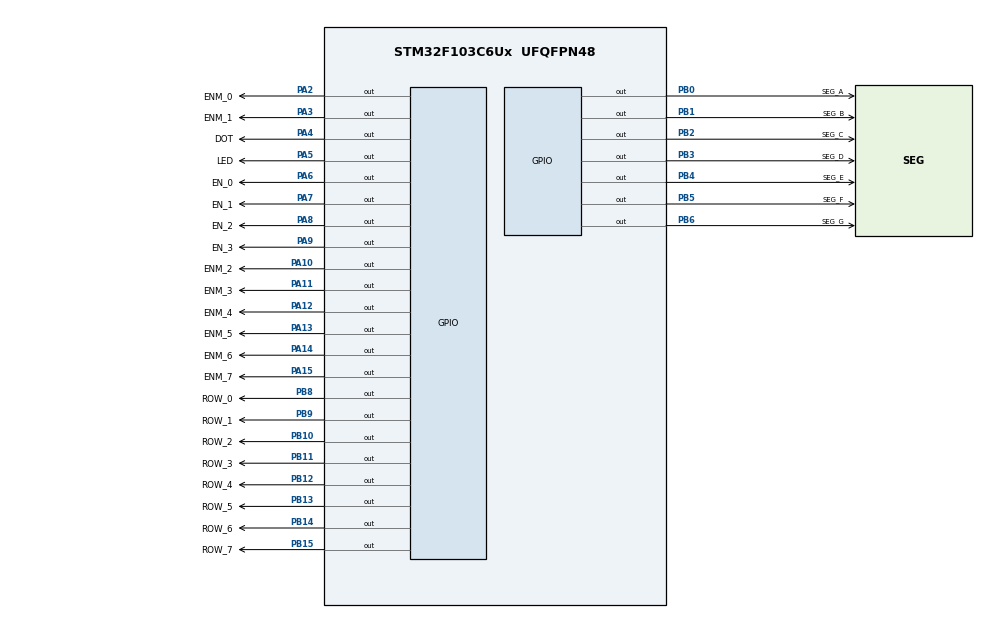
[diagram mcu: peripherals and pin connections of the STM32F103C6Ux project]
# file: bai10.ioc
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Mcu.Family=STM32F1
Mcu.Name=STM32F103C6Ux
Mcu.Package=UFQFPN48
NVIC.PriorityGroup=NVIC_PRIORITYGROUP_4
NVIC.TIM2_IRQn=true\:0\:0\:false\:false\:true\:true\:true\:true
PA10.GPIO_Label=ENM_2
PA10.Signal=GPIO_Output
PA11.GPIO_Label=ENM_3
PA11.Signal=GPIO_Output
PA12.GPIO_Label=ENM_4
PA12.Signal=GPIO_Output
PA13.GPIO_Label=ENM_5
PA13.Signal=GPIO_Output
PA14.GPIO_Label=ENM_6
PA14.Signal=GPIO_Output
PA15.GPIO_Label=ENM_7
PA15.Signal=GPIO_Output
PA2.GPIO_Label=ENM_0
PA2.Signal=GPIO_Output
PA3.GPIO_Label=ENM_1
PA3.Signal=GPIO_Output
PA4.GPIO_Label=DOT
PA4.Signal=GPIO_Output
PA5.GPIO_Label=LED
PA5.Signal=GPIO_Output
PA6.GPIO_Label=EN_0
PA6.Signal=GPIO_Output
PA7.GPIO_Label=EN_1
PA7.Signal=GPIO_Output
PA8.GPIO_Label=EN_2
PA8.Signal=GPIO_Output
PA9.GPIO_Label=EN_3
PA9.Signal=GPIO_Output
PB0.GPIO_Label=SEG_A
PB0.Signal=GPIO_Output
PB1.GPIO_Label=SEG_B
PB1.Signal=GPIO_Output
PB10.GPIO_Label=ROW_2
PB10.Signal=GPIO_Output
PB11.GPIO_Label=ROW_3
PB11.Signal=GPIO_Output
PB12.GPIO_Label=ROW_4
PB12.Signal=GPIO_Output
PB13.GPIO_Label=ROW_5
PB13.Signal=GPIO_Output
PB14.GPIO_Label=ROW_6
PB14.Signal=GPIO_Output
PB15.GPIO_Label=ROW_7
PB15.Signal=GPIO_Output
PB2.GPIO_Label=SEG_C
PB2.Signal=GPIO_Output
PB3.GPIO_Label=SEG_D
PB3.Signal=GPIO_Output
PB4.GPIO_Label=SEG_E
PB4.Signal=GPIO_Output
PB5.GPIO_Label=SEG_F
PB5.Signal=GPIO_Output
PB6.GPIO_Label=SEG_G
PB6.Signal=GPIO_Output
PB8.GPIO_Label=ROW_0
PB8.Signal=GPIO_Output
PB9.GPIO_Label=ROW_1
PB9.Signal=GPIO_Output
ProjectManager.HeapSize=0x200
ProjectManager.StackSize=0x400
ProjectManager.TargetToolchain=STM32CubeIDE
RCC.APB1Freq_Value=8000000
RCC.APB2Freq_Value=8000000
TIM2.Period=10
TIM2.Prescaler=7999
VP_TIM2_VS_ClockSourceINT.Mode=Internal
board=custom

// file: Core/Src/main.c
/* USER CODE BEGIN Header */
/**
 ******************************************************************************
 * @file           : main.c
 * @brief          : Main program body
 ******************************************************************************
 * @attention
 *
 * Copyright (c) 2022 STMicroelectronics.
 * All rights reserved.
 *
 * This software is licensed under terms that can be found in the LICENSE file
 * in the root directory of this software component.
 * If no LICENSE file comes with this software, it is provided AS-IS.
 *
 ******************************************************************************
 */
/* USER CODE END Header */
#include "main.h"

TIM_HandleTypeDef htim2;

void SystemClock_Config(void);
static void MX_GPIO_Init(void);
static void MX_TIM2_Init(void);

/* USER CODE BEGIN 0 */
int timer0_counter = 0;
int timer0_flag = 0;
int timer1_counter = 0;
int timer1_flag = 0;
int timer2_counter = 0;
int timer2_flag = 0;
int TIMER_CYCLE = 10;
void setTimer0(int duration) {
	timer0_counter = duration / TIMER_CYCLE;
	timer0_flag = 0;
}
void setTimer1(int duration) {
	timer1_counter = duration / TIMER_CYCLE;
	timer1_flag = 0;
}
void setTimer2(int duration) {
	timer2_counter = duration / TIMER_CYCLE;
	timer2_flag = 0;
}
void timer_run() {
	if (timer0_counter > 0) {
		timer0_counter--;
		if (timer0_counter == 0)
			timer0_flag = 1;
	}
	if (timer1_counter > 0) {
		timer1_counter--;
		if (timer1_counter == 0)
			timer1_flag = 1;
	}
	if (timer2_counter > 0) {
		timer2_counter--;
		if (timer2_counter == 0)
			timer2_flag = 1;
	}
}

void display7SEG(int counter) {
	//led display number 0 by enable 6 ports as follow (reset state)
	if (counter == 0) {
		HAL_GPIO_WritePin(SEG_A_GPIO_Port, SEG_A_Pin, RESET);
		HAL_GPIO_WritePin(SEG_B_GPIO_Port, SEG_B_Pin, RESET);
		HAL_GPIO_WritePin(SEG_C_GPIO_Port, SEG_C_Pin, RESET);
		HAL_GPIO_WritePin(SEG_D_GPIO_Port, SEG_D_Pin, RESET);
		HAL_GPIO_WritePin(SEG_E_GPIO_Port, SEG_E_Pin, RESET);
		HAL_GPIO_WritePin(SEG_F_GPIO_Port, SEG_F_Pin, RESET);
		HAL_GPIO_WritePin(SEG_G_GPIO_Port, SEG_G_Pin, SET);
	}
	//led display number 1 by enable 2 ports as follow (reset state)
	if (counter == 1) {
		HAL_GPIO_WritePin(SEG_A_GPIO_Port, SEG_A_Pin, SET);
		HAL_GPIO_WritePin(SEG_B_GPIO_Port, SEG_B_Pin, RESET);
		HAL_GPIO_WritePin(SEG_C_GPIO_Port, SEG_C_Pin, RESET);
		HAL_GPIO_WritePin(SEG_D_GPIO_Port, SEG_D_Pin, SET);
		HAL_GPIO_WritePin(SEG_E_GPIO_Port, SEG_E_Pin, SET);
		HAL_GPIO_WritePin(SEG_F_GPIO_Port, SEG_F_Pin, SET);
		HAL_GPIO_WritePin(SEG_G_GPIO_Port, SEG_G_Pin, SET);
	}
	//led display number 2 by enable 5 ports as follow (reset state)
	if (counter == 2) {
		HAL_GPIO_WritePin(SEG_A_GPIO_Port, SEG_A_Pin, RESET);
		HAL_GPIO_WritePin(SEG_B_GPIO_Port, SEG_B_Pin, RESET);
		HAL_GPIO_WritePin(SEG_C_GPIO_Port, SEG_C_Pin, SET);
		HAL_GPIO_WritePin(SEG_D_GPIO_Port, SEG_D_Pin, RESET);
		HAL_GPIO_WritePin(SEG_E_GPIO_Port, SEG_E_Pin, RESET);
		HAL_GPIO_WritePin(SEG_F_GPIO_Port, SEG_F_Pin, SET);
		HAL_GPIO_WritePin(SEG_G_GPIO_Port, SEG_G_Pin, RESET);
	}
	//led display number 3 by enable 5 ports as follow (reset state)
	if (counter == 3) {
		HAL_GPIO_WritePin(SEG_A_GPIO_Port, SEG_A_Pin, RESET);
		HAL_GPIO_WritePin(SEG_B_GPIO_Port, SEG_B_Pin, RESET);
		HAL_GPIO_WritePin(SEG_C_GPIO_Port, SEG_C_Pin, RESET);
		HAL_GPIO_WritePin(SEG_D_GPIO_Port, SEG_D_Pin, RESET);
		HAL_GPIO_WritePin(SEG_E_GPIO_Port, SEG_E_Pin, SET);
		HAL_GPIO_WritePin(SEG_F_GPIO_Port, SEG_F_Pin, SET);
		HAL_GPIO_WritePin(SEG_G_GPIO_Port, SEG_G_Pin, RESET);
	}
	//led display number 4 by enable 4 ports as follow (reset state)
	if (counter == 4) {
		HAL_GPIO_WritePin(SEG_A_GPIO_Port, SEG_A_Pin, SET);
		HAL_GPIO_WritePin(SEG_B_GPIO_Port, SEG_B_Pin, RESET);
		HAL_GPIO_WritePin(SEG_C_GPIO_Port, SEG_C_Pin, RESET);
		HAL_GPIO_WritePin(SEG_D_GPIO_Port, SEG_D_Pin, SET);
		HAL_GPIO_WritePin(SEG_E_GPIO_Port, SEG_E_Pin, SET);
		HAL_GPIO_WritePin(SEG_F_GPIO_Port, SEG_F_Pin, RESET);
		HAL_GPIO_WritePin(SEG_G_GPIO_Port, SEG_G_Pin, RESET);
	}
	//led display number 5 by enable 5 ports as follow (reset state)
	if (counter == 5) {
		HAL_GPIO_WritePin(SEG_A_GPIO_Port, SEG_A_Pin, RESET);
		HAL_GPIO_WritePin(SEG_B_GPIO_Port, SEG_B_Pin, SET);
		HAL_GPIO_WritePin(SEG_C_GPIO_Port, SEG_C_Pin, RESET);
		HAL_GPIO_WritePin(SEG_D_GPIO_Port, SEG_D_Pin, RESET);
		HAL_GPIO_WritePin(SEG_E_GPIO_Port, SEG_E_Pin, SET);
		HAL_GPIO_WritePin(SEG_F_GPIO_Port, SEG_F_Pin, RESET);
		HAL_GPIO_WritePin(SEG_G_GPIO_Port, SEG_G_Pin, RESET);
	}
	//led display number 6 by enable 6 ports as follow (reset state)
	if (counter == 6) {
		HAL_GPIO_WritePin(SEG_A_GPIO_Port, SEG_A_Pin, RESET);
		HAL_GPIO_WritePin(SEG_B_GPIO_Port, SEG_B_Pin, SET);
		HAL_GPIO_WritePin(SEG_C_GPIO_Port, SEG_C_Pin, RESET);
		HAL_GPIO_WritePin(SEG_D_GPIO_Port, SEG_D_Pin, RESET);
		HAL_GPIO_WritePin(SEG_E_GPIO_Port, SEG_E_Pin, RESET);
		HAL_GPIO_WritePin(SEG_F_GPIO_Port, SEG_F_Pin, RESET);
		HAL_GPIO_WritePin(SEG_G_GPIO_Port, SEG_G_Pin, RESET);
	}
	//led display number 7 by enable 3 ports as follow (reset state)
	if (counter == 7) {
		HAL_GPIO_WritePin(SEG_A_GPIO_Port, SEG_A_Pin, RESET);
		HAL_GPIO_WritePin(SEG_B_GPIO_Port, SEG_B_Pin, RESET);
		HAL_GPIO_WritePin(SEG_C_GPIO_Port, SEG_C_Pin, RESET);
		HAL_GPIO_WritePin(SEG_D_GPIO_Port, SEG_D_Pin, SET);
		HAL_GPIO_WritePin(SEG_E_GPIO_Port, SEG_E_Pin, SET);
		HAL_GPIO_WritePin(SEG_F_GPIO_Port, SEG_F_Pin, SET);
		HAL_GPIO_WritePin(SEG_G_GPIO_Port, SEG_G_Pin, SET);
	}
	//led display number 8 by enable 7 ports as follow (reset state)
	if (counter == 8) {
		HAL_GPIO_WritePin(SEG_A_GPIO_Port, SEG_A_Pin, RESET);
		HAL_GPIO_WritePin(SEG_B_GPIO_Port, SEG_B_Pin, RESET);
		HAL_GPIO_WritePin(SEG_C_GPIO_Port, SEG_C_Pin, RESET);
		HAL_GPIO_WritePin(SEG_D_GPIO_Port, SEG_D_Pin, RESET);
		HAL_GPIO_WritePin(SEG_E_GPIO_Port, SEG_E_Pin, RESET);
		HAL_GPIO_WritePin(SEG_F_GPIO_Port, SEG_F_Pin, RESET);
		HAL_GPIO_WritePin(SEG_G_GPIO_Port, SEG_G_Pin, RESET);
	}
	//led display number 9 by enable 6 ports as follow (reset state)
	if (counter == 9) {
		HAL_GPIO_WritePin(SEG_A_GPIO_Port, SEG_A_Pin, RESET);
		HAL_GPIO_WritePin(SEG_B_GPIO_Port, SEG_B_Pin, RESET);
		HAL_GPIO_WritePin(SEG_C_GPIO_Port, SEG_C_Pin, RESET);
		HAL_GPIO_WritePin(SEG_D_GPIO_Port, SEG_D_Pin, RESET);
		HAL_GPIO_WritePin(SEG_E_GPIO_Port, SEG_E_Pin, SET);
		HAL_GPIO_WritePin(SEG_F_GPIO_Port, SEG_F_Pin, RESET);
		HAL_GPIO_WritePin(SEG_G_GPIO_Port, SEG_G_Pin, RESET);
	}
}
void update7SEG(int index, int data) {
	switch (index) {
	case 0:
		// Display the first 7 SEG with led_buffer [0]
		HAL_GPIO_WritePin(EN_0_GPIO_Port, EN_0_Pin, RESET);
		HAL_GPIO_WritePin(EN_1_GPIO_Port, EN_1_Pin, SET);
		HAL_GPIO_WritePin(EN_2_GPIO_Port, EN_2_Pin, SET);
		HAL_GPIO_WritePin(EN_3_GPIO_Port, EN_3_Pin, SET);
		display7SEG(data);
		break;
	case 1:
		// Display the second 7 SEG with led_buffer [1]
		HAL_GPIO_WritePin(EN_0_GPIO_Port, EN_0_Pin, SET);
		HAL_GPIO_WritePin(EN_1_GPIO_Port, EN_1_Pin, RESET);
		HAL_GPIO_WritePin(EN_2_GPIO_Port, EN_2_Pin, SET);
		HAL_GPIO_WritePin(EN_3_GPIO_Port, EN_3_Pin, SET);
		display7SEG(data);
		break;
	case 2:
		// Display the third 7 SEG with led_buffer [2]
		HAL_GPIO_WritePin(EN_0_GPIO_Port, EN_0_Pin, SET);
		HAL_GPIO_WritePin(EN_1_GPIO_Port, EN_1_Pin, SET);
		HAL_GPIO_WritePin(EN_2_GPIO_Port, EN_2_Pin, RESET);
		HAL_GPIO_WritePin(EN_3_GPIO_Port, EN_3_Pin, SET);
		display7SEG(data);
		break;
	case 3:
		// Display the forth 7 SEG with led_buffer [3]
		HAL_GPIO_WritePin(EN_0_GPIO_Port, EN_0_Pin, SET);
		HAL_GPIO_WritePin(EN_1_GPIO_Port, EN_1_Pin, SET);
		HAL_GPIO_WritePin(EN_2_GPIO_Port, EN_2_Pin, SET);
		HAL_GPIO_WritePin(EN_3_GPIO_Port, EN_3_Pin, RESET);
		display7SEG(data);
		break;
	default:
		break;
	}
}

int time_info[4] = { 0, 0, 0, 0 };
static int led_buffer[4] = { 0, 0, 0, 0 };
int* updateClockBuffer(int hour, int minute) {
	//first led 7seg display hour info
	time_info[0] = hour / 10;
	time_info[1] = hour % 10;
	//display minute same as displaying hour
	time_info[2] = minute / 10;
	time_info[3] = minute % 10;

	return time_info;
}

void clearLEDMatrix() {
	//This function aims to turn off all leds
	HAL_GPIO_WritePin(ROW_0_GPIO_Port, ROW_0_Pin, 1);
	HAL_GPIO_WritePin(ROW_1_GPIO_Port, ROW_1_Pin, 1);
	HAL_GPIO_WritePin(ROW_2_GPIO_Port, ROW_2_Pin, 1);
	HAL_GPIO_WritePin(ROW_3_GPIO_Port, ROW_3_Pin, 1);
	HAL_GPIO_WritePin(ROW_4_GPIO_Port, ROW_4_Pin, 1);
	HAL_GPIO_WritePin(ROW_5_GPIO_Port, ROW_5_Pin, 1);
	HAL_GPIO_WritePin(ROW_6_GPIO_Port, ROW_6_Pin, 1);
	HAL_GPIO_WritePin(ROW_7_GPIO_Port, ROW_7_Pin, 1);
}

void displayLEDMatrix(uint8_t num) {
	//This function aims to display data onto the led matrix

	//each line represents each how many led will be turned on each column
	HAL_GPIO_WritePin(ENM_0_GPIO_Port, ENM_0_Pin, !(num & 0x01));	//column 0
	HAL_GPIO_WritePin(ENM_1_GPIO_Port, ENM_1_Pin, !(num & 0x02));	//column 1
	HAL_GPIO_WritePin(ENM_2_GPIO_Port, ENM_2_Pin, !(num & 0x04));	//column 2
	HAL_GPIO_WritePin(ENM_3_GPIO_Port, ENM_3_Pin, !(num & 0x08));	//column 3
	HAL_GPIO_WritePin(ENM_4_GPIO_Port, ENM_4_Pin, !(num & 0x10));	//column 4
	HAL_GPIO_WritePin(ENM_5_GPIO_Port, ENM_5_Pin, !(num & 0x20));	//column 5
	HAL_GPIO_WritePin(ENM_6_GPIO_Port, ENM_6_Pin, !(num & 0x40));	//column 6
	HAL_GPIO_WritePin(ENM_7_GPIO_Port, ENM_7_Pin, !(num & 0x80));	//column 7
}

//the matrix buffer holds the data for each row in led matrix
uint8_t matrix_buffer[8] = { 0x18, 0x3C, 0x66, 0x66, 0x7E, 0x66, 0x66, 0x66 }; //A
void updateLEDMatrix(int index) {
	//In each case, we use clearLEDMatrix() and then set RESET signal on
	//the corresponding row. Then, we call displayLEDMatrix() to display
	//the data we want.
	switch (index) {
	case 0:
		clearLEDMatrix();
		HAL_GPIO_WritePin(ROW_0_GPIO_Port, ROW_0_Pin, RESET);
		displayLEDMatrix(matrix_buffer[index]);
		break;
	case 1:
		clearLEDMatrix();
		HAL_GPIO_WritePin(ROW_1_GPIO_Port, ROW_1_Pin, RESET);
		displayLEDMatrix(matrix_buffer[index]);
		break;
	case 2:
		clearLEDMatrix();
		HAL_GPIO_WritePin(ROW_2_GPIO_Port, ROW_2_Pin, RESET);
		displayLEDMatrix(matrix_buffer[index]);
		break;
	case 3:
		clearLEDMatrix();
		HAL_GPIO_WritePin(ROW_3_GPIO_Port, ROW_3_Pin, RESET);
		displayLEDMatrix(matrix_buffer[index]);
		break;
	case 4:
		clearLEDMatrix();
		HAL_GPIO_WritePin(ROW_4_GPIO_Port, ROW_4_Pin, RESET);
		displayLEDMatrix(matrix_buffer[index]);
		break;
	case 5:
		clearLEDMatrix();
		HAL_GPIO_WritePin(ROW_5_GPIO_Port, ROW_5_Pin, RESET);
		displayLEDMatrix(matrix_buffer[index]);
		break;
	case 6:
		clearLEDMatrix();
		HAL_GPIO_WritePin(ROW_6_GPIO_Port, ROW_6_Pin, RESET);
		displayLEDMatrix(matrix_buffer[index]);
		break;
	case 7:
		clearLEDMatrix();
		HAL_GPIO_WritePin(ROW_7_GPIO_Port, ROW_7_Pin, RESET);
		displayLEDMatrix(matrix_buffer[index]);
		break;
	default:
		break;
	}
}

void ledMatrixEffect() {
	//This functions aims to shift left the 'A' text
	int i;
	for (i = 0; i < 8; i++) {
		matrix_buffer[i] = (matrix_buffer[i] >> 1) + (matrix_buffer[i] << 7);
	}
}
/* USER CODE END 0 */

int main(void) {

	/* MCU Configuration--------------------------------------------------------*/

	/* Reset of all peripherals, Initializes the Flash interface and the Systick. */
	HAL_Init();

	/* Configure the system clock */
	SystemClock_Config();

	/* Initialize all configured peripherals */
	MX_GPIO_Init();
	MX_TIM2_Init();
	/* USER CODE BEGIN 2 */
	HAL_TIM_Base_Start_IT(&htim2);
	/* USER CODE END 2 */

	/* Infinite loop */
	/* USER CODE BEGIN WHILE */
	//Init values
	int hour = 15, minute = 8, second = 50;
	int index_led = 0;
	int time_index = 0;
	int led_matrix_index = 0;
	int *buffer;
	setTimer0(1000);
	setTimer1(250);
	setTimer2(10);
	while (1) {
		//update time_info and blinking led
		if (timer0_flag == 1) {
			//set timer0 = 1s
			setTimer0(1000);

			second++;
			if (second >= 60) {
				second = 0;
				minute++;
			}
			if (minute >= 60) {
				minute = 0;
				hour++;
			}
			if (hour >= 24) {
				hour = 0;
			}
			//Toggle DOT led
			HAL_GPIO_TogglePin(DOT_GPIO_Port, DOT_Pin);
		}
		//led_7_segment display
		if (timer1_flag == 1) {
			//set timer1 = 0.25s
			setTimer1(250);
			if (index_led >= 4) {
				index_led = 0;
				time_index = 0;
			}
			//call function to update time info
			buffer = updateClockBuffer(hour, minute);
			//update led buffers
			led_buffer[0] = buffer[0];
			led_buffer[1] = buffer[1];
			led_buffer[2] = buffer[2];
			led_buffer[3] = buffer[3];
			update7SEG(index_led++, led_buffer[time_index++]);
		}
		//Led_matrix display
		if (timer2_flag == 1) {
			//set timer2 = 0.01s
			setTimer2(10);
			if (led_matrix_index >= 8) {
				led_matrix_index = 0;
				ledMatrixEffect();
			}
			updateLEDMatrix(led_matrix_index++);
		}
	}
	/* USER CODE END WHILE */

}

void SystemClock_Config(void) {
	RCC_OscInitTypeDef RCC_OscInitStruct = { 0 };
	RCC_ClkInitTypeDef RCC_ClkInitStruct = { 0 };

	/** Initializes the RCC Oscillators according to the specified parameters
	 * in the RCC_OscInitTypeDef structure.
	 */
	RCC_OscInitStruct.OscillatorType = RCC_OSCILLATORTYPE_HSI;
	RCC_OscInitStruct.HSIState = RCC_HSI_ON;
	RCC_OscInitStruct.HSICalibrationValue = RCC_HSICALIBRATION_DEFAULT;
	RCC_OscInitStruct.PLL.PLLState = RCC_PLL_NONE;
	if (HAL_RCC_OscConfig(&RCC_OscInitStruct) != HAL_OK) {
		Error_Handler();
	}

	/** Initializes the CPU, AHB and APB buses clocks
	 */
	RCC_ClkInitStruct.ClockType = RCC_CLOCKTYPE_HCLK | RCC_CLOCKTYPE_SYSCLK
			| RCC_CLOCKTYPE_PCLK1 | RCC_CLOCKTYPE_PCLK2;
	RCC_ClkInitStruct.SYSCLKSource = RCC_SYSCLKSOURCE_HSI;
	RCC_ClkInitStruct.AHBCLKDivider = RCC_SYSCLK_DIV1;
	RCC_ClkInitStruct.APB1CLKDivider = RCC_HCLK_DIV1;
	RCC_ClkInitStruct.APB2CLKDivider = RCC_HCLK_DIV1;

	if (HAL_RCC_ClockConfig(&RCC_ClkInitStruct, FLASH_LATENCY_0) != HAL_OK) {
		Error_Handler();
	}
}

static void MX_TIM2_Init(void) {

	TIM_ClockConfigTypeDef sClockSourceConfig = { 0 };
	TIM_MasterConfigTypeDef sMasterConfig = { 0 };

	htim2.Instance = TIM2;
	htim2.Init.Prescaler = 7999;
	htim2.Init.CounterMode = TIM_COUNTERMODE_UP;
	htim2.Init.Period = 10;
	htim2.Init.ClockDivision = TIM_CLOCKDIVISION_DIV1;
	htim2.Init.AutoReloadPreload = TIM_AUTORELOAD_PRELOAD_DISABLE;
	if (HAL_TIM_Base_Init(&htim2) != HAL_OK) {
		Error_Handler();
	}
	sClockSourceConfig.ClockSource = TIM_CLOCKSOURCE_INTERNAL;
	if (HAL_TIM_ConfigClockSource(&htim2, &sClockSourceConfig) != HAL_OK) {
		Error_Handler();
	}
	sMasterConfig.MasterOutputTrigger = TIM_TRGO_RESET;
	sMasterConfig.MasterSlaveMode = TIM_MASTERSLAVEMODE_DISABLE;
	if (HAL_TIMEx_MasterConfigSynchronization(&htim2, &sMasterConfig)
			!= HAL_OK) {
		Error_Handler();
	}

}

static void MX_GPIO_Init(void) {
	GPIO_InitTypeDef GPIO_InitStruct = { 0 };

	/* GPIO Ports Clock Enable */
	__HAL_RCC_GPIOA_CLK_ENABLE();
	__HAL_RCC_GPIOB_CLK_ENABLE();

	/*Configure GPIO pin Output Level */
	HAL_GPIO_WritePin(GPIOA,
			ENM_0_Pin | ENM_1_Pin | DOT_Pin | LED_Pin | EN_0_Pin | EN_1_Pin
					| EN_2_Pin | EN_3_Pin | ENM_2_Pin | ENM_3_Pin | ENM_4_Pin
					| ENM_5_Pin | ENM_6_Pin | ENM_7_Pin, GPIO_PIN_RESET);

	/*Configure GPIO pin Output Level */
	HAL_GPIO_WritePin(GPIOB,
			SEG_A_Pin | SEG_B_Pin | SEG_C_Pin | ROW_2_Pin | ROW_3_Pin
					| ROW_4_Pin | ROW_5_Pin | ROW_6_Pin | ROW_7_Pin | SEG_D_Pin
					| SEG_E_Pin | SEG_F_Pin | SEG_G_Pin | ROW_0_Pin | ROW_1_Pin,
			GPIO_PIN_RESET);

	/*Configure GPIO pins : ENM_0_Pin ENM_1_Pin DOT_Pin LED_Pin
	 EN_0_Pin EN_1_Pin EN_2_Pin EN_3_Pin
	 ENM_2_Pin ENM_3_Pin ENM_4_Pin ENM_5_Pin
	 ENM_6_Pin ENM_7_Pin */
	GPIO_InitStruct.Pin = ENM_0_Pin | ENM_1_Pin | DOT_Pin | LED_Pin | EN_0_Pin
			| EN_1_Pin | EN_2_Pin | EN_3_Pin | ENM_2_Pin | ENM_3_Pin | ENM_4_Pin
			| ENM_5_Pin | ENM_6_Pin | ENM_7_Pin;
	GPIO_InitStruct.Mode = GPIO_MODE_OUTPUT_PP;
	GPIO_InitStruct.Pull = GPIO_NOPULL;
	GPIO_InitStruct.Speed = GPIO_SPEED_FREQ_LOW;
	HAL_GPIO_Init(GPIOA, &GPIO_InitStruct);

	/*Configure GPIO pins : SEG_A_Pin SEG_B_Pin SEG_C_Pin ROW_2_Pin
	 ROW_3_Pin ROW_4_Pin ROW_5_Pin ROW_6_Pin
	 ROW_7_Pin SEG_D_Pin SEG_E_Pin SEG_F_Pin
	 SEG_G_Pin ROW_0_Pin ROW_1_Pin */
	GPIO_InitStruct.Pin = SEG_A_Pin | SEG_B_Pin | SEG_C_Pin | ROW_2_Pin
			| ROW_3_Pin | ROW_4_Pin | ROW_5_Pin | ROW_6_Pin | ROW_7_Pin
			| SEG_D_Pin | SEG_E_Pin | SEG_F_Pin | SEG_G_Pin | ROW_0_Pin
			| ROW_1_Pin;
	GPIO_InitStruct.Mode = GPIO_MODE_OUTPUT_PP;
	GPIO_InitStruct.Pull = GPIO_NOPULL;
	GPIO_InitStruct.Speed = GPIO_SPEED_FREQ_LOW;
	HAL_GPIO_Init(GPIOB, &GPIO_InitStruct);

}

/* USER CODE BEGIN 4 */
void HAL_TIM_PeriodElapsedCallback(TIM_HandleTypeDef *htim) {
	timer_run();
}
/* USER CODE END 4 */

void Error_Handler(void) {
	__disable_irq();
	while (1) {
	}
}
